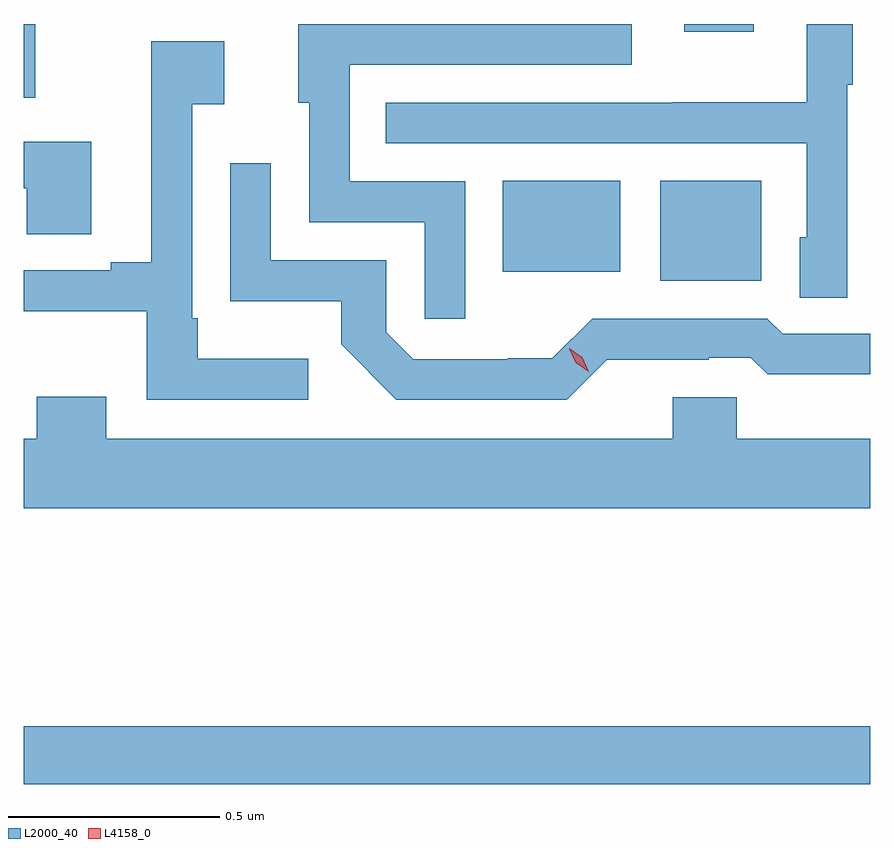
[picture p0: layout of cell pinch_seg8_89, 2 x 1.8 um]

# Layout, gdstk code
import gdstk
lib = gdstk.Library(unit=1e-6, precision=1e-09)
def R(c, l, rs):  # rectangles x0, y0, x1, y1
    for r in rs: c.add(gdstk.rectangle(r[:2], r[2:], *l))
def P(c, l, *ps):  # polygons
    for p in ps: c.add(gdstk.Polygon(p, *l))
L2000_40 = (2000, 40)
L4158_0 = (4158, 0)

pinch_seg8_89 = lib.new_cell('pinch_seg8_89')
R(pinch_seg8_89, L2000_40, [(1097.074,1099.864,1099.074,1100), (1098.578,1101.053,1098.817,1101.289), (1098.206,1101.074,1098.484,1101.289), (1097.074,1101.486,1097.101,1101.66), (1098.635,1101.642,1098.799,1101.66)])
P(pinch_seg8_89, L2000_40, [(1099.02,1101.516),(1099.033,1101.516),(1099.033,1101.66),(1098.924,1101.66),(1098.924,1101.475),(1098.607,1101.475),(1098.607,1101.474),(1097.929,1101.474),(1097.929,1101.378),(1098.924,1101.378),(1098.924,1101.156),(1098.908,1101.156),(1098.908,1101.013),(1099.02,1101.013)],
  [(1098.117,1101.288),(1097.844,1101.288),(1097.844,1101.564),(1098.511,1101.564),(1098.511,1101.66),(1097.723,1101.66),(1097.723,1101.474),(1097.748,1101.474),(1097.748,1101.192),(1098.021,1101.192),(1098.021,1100.964),(1098.117,1100.964)],
  [(1097.746,1100.869),(1097.485,1100.869),(1097.485,1100.965),(1097.472,1100.965),(1097.472,1101.47),(1097.548,1101.47),(1097.548,1101.619),(1097.375,1101.619),(1097.375,1101.097),(1097.279,1101.097),(1097.279,1101.078),(1097.074,1101.078),(1097.074,1100.981),(1097.364,1100.981),(1097.364,1100.772),(1097.746,1100.772)],
  [(1097.233,1101.382),(1097.074,1101.382),(1097.074,1101.272),(1097.081,1101.272),(1097.081,1101.163),(1097.233,1101.163)],
  [(1098.452,1100.867),(1098.692,1100.867),(1098.692,1100.871),(1098.792,1100.871),(1098.832,1100.832),(1099.074,1100.832),(1099.074,1100.928),(1098.867,1100.928),(1098.831,1100.964),(1098.417,1100.964),(1098.323,1100.87),(1098.218,1100.87),(1098.218,1100.868),(1097.994,1100.868),(1097.931,1100.931),(1097.931,1101.102),(1097.658,1101.102),(1097.658,1101.331),(1097.562,1101.331),(1097.562,1101.005),(1097.824,1101.005),(1097.824,1100.903),(1097.954,1100.772),(1098.357,1100.772)],
  [(1099.074,1100.68),(1098.759,1100.68),(1098.759,1100.778),(1098.608,1100.778),(1098.608,1100.68),(1097.269,1100.68),(1097.269,1100.779),(1097.105,1100.779),(1097.105,1100.68),(1097.074,1100.68),(1097.074,1100.516),(1099.074,1100.516)])
P(pinch_seg8_89, L4158_0, [(1098.409,1100.838),(1098.378,1100.859),(1098.363,1100.893),(1098.363,1100.894),(1098.363,1100.894),(1098.394,1100.872),(1098.409,1100.838),(1098.409,1100.838)])

lib.write_gds('pinch_seg8_89.gds')
